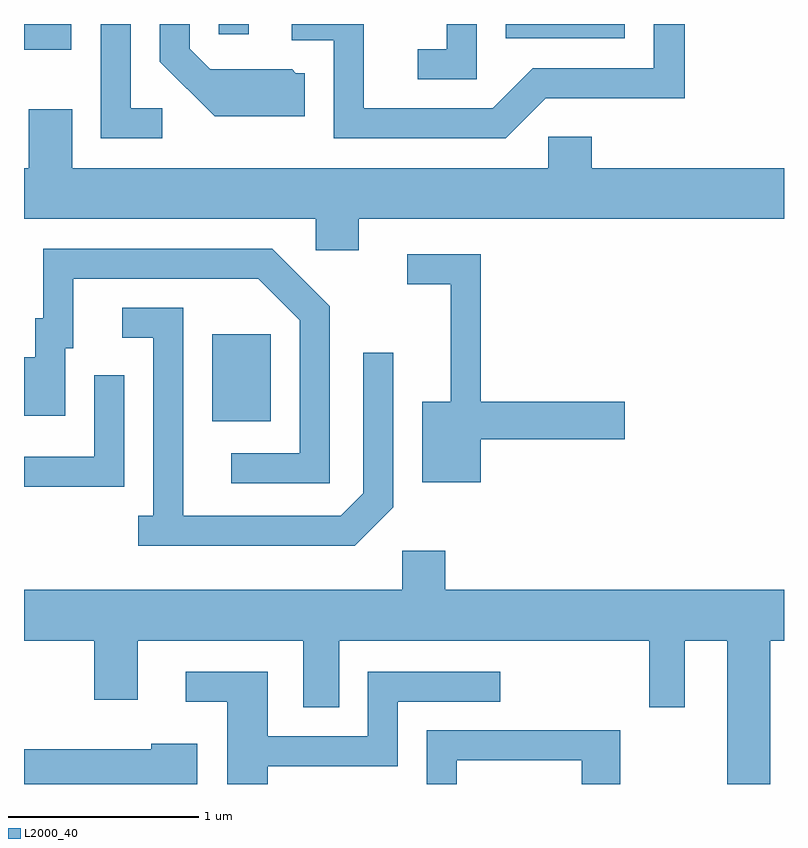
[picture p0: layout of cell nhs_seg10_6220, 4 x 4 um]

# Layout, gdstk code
import gdstk
lib = gdstk.Library(unit=1e-6, precision=1e-09)
def R(c, l, rs):  # rectangles x0, y0, x1, y1
    for r in rs: c.add(gdstk.rectangle(r[:2], r[2:], *l))
def P(c, l, *ps):  # polygons
    for p in ps: c.add(gdstk.Polygon(p, *l))
L2000_40 = (2000, 40)

nhs_seg10_6220 = lib.new_cell('nhs_seg10_6220')
R(nhs_seg10_6220, L2000_40, [(370.601,2088.431,370.909,2088.889), (369.611,2090.386,369.859,2090.522), (372.146,2090.446,372.774,2090.522), (370.636,2090.468,370.794,2090.522)])
P(nhs_seg10_6220, L2000_40, [(372.357,2090.131),(373.089,2090.131),(373.089,2090.522),(372.926,2090.522),(372.926,2090.289),(372.289,2090.289),(372.079,2090.079),(371.399,2090.079),(371.399,2090.522),(371.021,2090.522),(371.021,2090.436),(371.241,2090.436),(371.241,2089.921),(372.147,2089.921)],
  [(371.994,2090.522),(371.836,2090.522),(371.836,2090.389),(371.683,2090.389),(371.683,2090.231),(371.994,2090.231)],
  [(371.089,2090.264),(371.042,2090.264),(371.022,2090.284),(370.592,2090.284),(370.484,2090.392),(370.484,2090.522),(370.326,2090.522),(370.326,2090.324),(370.614,2090.036),(371.089,2090.036)],
  [(370.338,2090.079),(370.174,2090.079),(370.174,2090.522),(370.016,2090.522),(370.016,2089.921),(370.338,2089.921)],
  [(371.146,2089.331),(371.374,2089.331),(371.374,2089.496),(373.611,2089.496),(373.611,2089.764),(372.599,2089.764),(372.599,2089.929),(372.371,2089.929),(372.371,2089.764),(369.864,2089.764),(369.864,2090.074),(369.636,2090.074),(369.636,2089.764),(369.611,2089.764),(369.611,2089.496),(371.146,2089.496)],
  [(371.219,2089.037),(370.917,2089.339),(369.711,2089.339),(369.711,2088.974),(369.671,2088.974),(369.671,2088.769),(369.611,2088.769),(369.611,2088.461),(369.829,2088.461),(369.829,2088.816),(369.869,2088.816),(369.869,2089.181),(370.844,2089.181),(371.061,2088.963),(371.061,2088.264),(370.703,2088.264),(370.703,2088.106),(371.219,2088.106)],
  [(372.014,2088.336),(372.774,2088.336),(372.774,2088.534),(372.014,2088.534),(372.014,2089.309),(371.628,2089.309),(371.628,2089.151),(371.856,2089.151),(371.856,2088.534),(371.706,2088.534),(371.706,2088.111),(372.014,2088.111)],
  [(371.554,2087.979),(371.554,2088.793),(371.396,2088.793),(371.396,2088.052),(371.279,2087.934),(370.449,2087.934),(370.449,2089.029),(370.128,2089.029),(370.128,2088.871),(370.291,2088.871),(370.291,2087.934),(370.213,2087.934),(370.213,2087.776),(371.352,2087.776)],
  [(370.139,2088.673),(369.981,2088.673),(369.981,2088.244),(369.611,2088.244),(369.611,2088.086),(370.139,2088.086)],
  [(369.611,2087.276),(369.981,2087.276),(369.981,2086.966),(370.209,2086.966),(370.209,2087.276),(371.081,2087.276),(371.081,2086.926),(371.269,2086.926),(371.269,2087.276),(372.901,2087.276),(372.901,2086.926),(373.089,2086.926),(373.089,2087.276),(373.311,2087.276),(373.311,2086.522),(373.539,2086.522),(373.539,2087.276),(373.611,2087.276),(373.611,2087.544),(371.829,2087.544),(371.829,2087.749),(371.601,2087.749),(371.601,2087.544),(369.611,2087.544)],
  [(370.894,2086.616),(371.579,2086.616),(371.579,2086.956),(372.118,2086.956),(372.118,2087.114),(371.421,2087.114),(371.421,2086.774),(370.894,2086.774),(370.894,2087.114),(370.463,2087.114),(370.463,2086.956),(370.681,2086.956),(370.681,2086.522),(370.894,2086.522)],
  [(371.889,2086.646),(372.546,2086.646),(372.546,2086.522),(372.749,2086.522),(372.749,2086.804),(371.731,2086.804),(371.731,2086.522),(371.889,2086.522)],
  [(370.524,2086.734),(370.281,2086.734),(370.281,2086.704),(369.611,2086.704),(369.611,2086.522),(370.524,2086.522)])

lib.write_gds('nhs_seg10_6220.gds')
